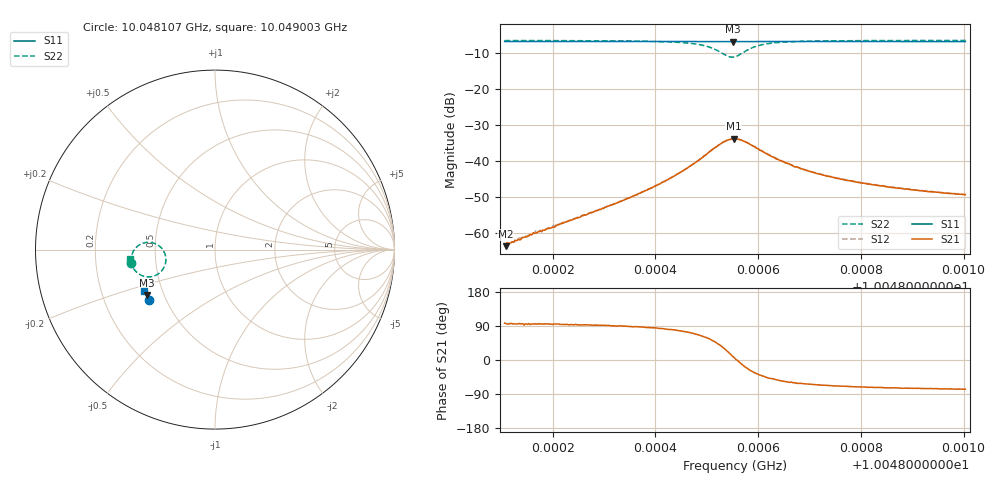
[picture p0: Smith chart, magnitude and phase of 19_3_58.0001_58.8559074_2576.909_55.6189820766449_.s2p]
#  HZ  S  RI  R  50.00
! Rohde & Schwarz Vector Network Analyzer
! Rohde-Schwarz,ZNB20-2Port,1311601062101988,3.16
! Created: UTC 3/21/2024, 12:51:07 AM
! freq[Hz]  re:S11  im:S11  re:S21  im:S21  re:S12  im:S12  re:S22  im:S22
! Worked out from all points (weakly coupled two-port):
!   401 points, 10.048107 GHz to 10.049003 GHz, reference 50 ohm
!   highest |S21| = -33.74 dB at 10.048553 GHz (marker M1); lowest = -63.6 dB at 10.048109 GHz (marker M2)
!   lowest |S11| = -6.8 dB at 10.048551 GHz (marker M3), VSWR 2.68, Z = 20.1 - j12.9 ohm
!   |S11| at or under -10 dB: nowhere
!   |S22| runs from -11.1 to -6.5 dB; largest |S21 - S12| = 0.0017
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1.00481065e10  -0.3655 -0.2784  -8.87e-05 0.000689  -8.33e-05 0.000683  -0.4676 -0.0728
1.00481088e10  -0.3656 -0.2783  -7.14e-05 0.000655  -9.74e-05 0.000689  -0.4677 -0.0726
1.00481715e10  -0.368 -0.2747  -0.000108 0.00104  -0.000169 0.00104  -0.468 -0.065
1.00481828e10  -0.3686 -0.2742  -8.3e-05 0.00109  -0.000137 0.00112  -0.4679 -0.0636
1.00482568e10  -0.3713 -0.27  -8.68e-05 0.00174  -0.000192 0.00175  -0.4676 -0.0531
1.0048324e10  -0.3738 -0.2661  1.48e-05 0.0026  -0.000166 0.00265  -0.4659 -0.04
1.0048407e10  -0.3769 -0.2613  0.000554 0.00474  0.000253 0.00482  -0.4578 -0.015
1.00484496e10  -0.3784 -0.2588  0.00163 0.00687  0.00128 0.00698  -0.4441 0.00638
1.00484743e10  -0.3791 -0.257  0.00313 0.00864  0.00268 0.00883  -0.427 0.0225
1.00485124e10  -0.3799 -0.2545  0.00941 0.0114  0.00862 0.0119  -0.3643 0.0407
1.00485348e10  -0.38 -0.2533  0.0163 0.00931  0.0157 0.0101  -0.3014 0.012
1.00485505e10  -0.3798 -0.253  0.0201 0.00337  0.0197 0.00505  -0.2745 -0.045
1.00485528e10  -0.38 -0.2531  0.0204 0.00258  0.02 0.00399  -0.2738 -0.0547
1.0048555e10  -0.3801 -0.2529  0.0204 0.00141  0.0201 0.00307  -0.2741 -0.0641
1.00485662e10  -0.3804 -0.2527  0.0194 -0.00301  0.0197 -0.00156  -0.2886 -0.1067
1.00485797e10  -0.3811 -0.2525  0.0164 -0.00686  0.017 -0.00577  -0.322 -0.1391
1.00486111e10  -0.383 -0.2511  0.00974 -0.00907  0.0103 -0.00853  -0.3911 -0.1497
1.00486671e10  -0.3854 -0.2479  0.00434 -0.00749  0.00501 -0.00725  -0.4403 -0.1223
1.00487052e10  -0.387 -0.2456  0.00305 -0.00634  0.00344 -0.00622  -0.4524 -0.1074
1.0048768e10  -0.3892 -0.242  0.00194 -0.00513  0.00228 -0.00509  -0.4616 -0.0898
1.00488555e10  -0.392 -0.2368  0.00121 -0.00416  0.00151 -0.00416  -0.4672 -0.0737
1.00490035e10  -0.397 -0.2282  0.000774 -0.00333  0.000953 -0.00332  -0.471 -0.0549
